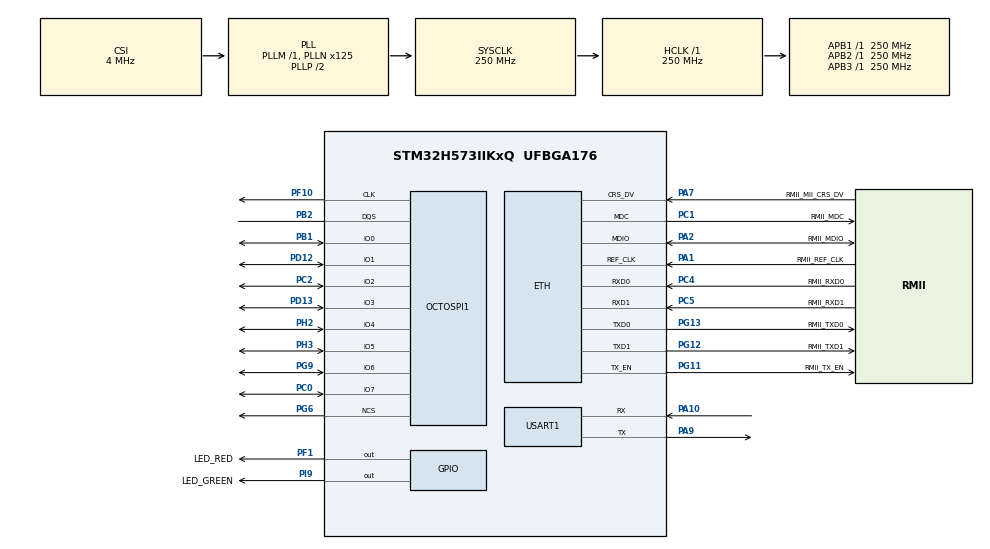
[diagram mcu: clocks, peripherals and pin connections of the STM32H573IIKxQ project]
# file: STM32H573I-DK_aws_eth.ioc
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CORTEX_M33_NS.AccessPermission-Cortex_Memory_Protection_Unit_Region0_Settings=MPU_REGION_PRIV_RO
CORTEX_M33_NS.BaseAddress-Cortex_Memory_Protection_Unit_Region0_Settings=0x08FFF800
CORTEX_M33_NS.DisableExec-Cortex_Memory_Protection_Unit_Region0_Settings=MPU_INSTRUCTION_ACCESS_DISABLE
CORTEX_M33_NS.Enable-Cortex_Memory_Protection_Unit_Region0_Settings=MPU_REGION_ENABLE
CORTEX_M33_NS.Enable-Cortex_Memory_Protection_Unit_Region1_Settings=__NULL
CORTEX_M33_NS.LimitAddress-Cortex_Memory_Protection_Unit_Region0_Settings=0x08FFF80C
CORTEX_M33_NS.MPU_Control=MPU_PRIVILEGED_DEFAULT
CORTEX_M33_NS.userName=CORTEX_M33
ETH.MACAddr=02\:00\:00\:00\:00\:00
ETH.MediaInterface=HAL_ETH_RMII_MODE
IWDG.Prescaler=IWDG_PRESCALER_1024
IWDG.Reload=320
IWDG.Window=0xfff
Mcu.Family=STM32H5
Mcu.Name=STM32H573IIKxQ
Mcu.Package=UFBGA176
NVIC.ETH_IRQn=true\:5\:0\:true\:false\:true\:true\:true\:true
NVIC.OCTOSPI1_IRQn=true\:5\:0\:true\:false\:true\:true\:true\:true
NVIC.PriorityGroup=NVIC_PRIORITYGROUP_4
NVIC.RNG_IRQn=true\:5\:0\:true\:false\:true\:true\:true\:true
NVIC.USART1_IRQn=true\:5\:0\:true\:false\:true\:true\:true\:true
OCTOSPI1.ChipSelectHighTimeCycle=2
OCTOSPI1.ClockPrescaler=4
OCTOSPI1.DelayBlockBypass=HAL_XSPI_DELAY_BLOCK_ON
OCTOSPI1.DelayHoldQuarterCycle=HAL_XSPI_DHQC_ENABLE
OCTOSPI1.FifoThresholdByte=4
OCTOSPI1.FreeRunningClock=HAL_XSPI_FREERUNCLK_ENABLE
OCTOSPI1.MemorySize=HAL_XSPI_SIZE_64MB
OCTOSPI1.MemoryType=HAL_XSPI_MEMTYPE_MACRONIX
OCTOSPI1.PhaseSel=2
OCTOSPI1.Units=56
PA1.GPIO_Label=RMII_REF_CLK
PA1.GPIO_Speed=GPIO_SPEED_FREQ_HIGH
PA1.Mode=RMII
PA1.Signal=ETH_REF_CLK
PA10.Mode=Asynchronous
PA10.Signal=USART1_RX
PA2.GPIO_Label=RMII_MDIO
PA2.GPIO_Speed=GPIO_SPEED_FREQ_HIGH
PA2.Mode=RMII
PA2.Signal=ETH_MDIO
PA7.GPIO_Label=RMII_MII_CRS_DV
PA7.GPIO_Speed=GPIO_SPEED_FREQ_HIGH
PA7.Mode=RMII
PA7.Signal=ETH_CRS_DV
PA9.Mode=Asynchronous
PA9.Signal=USART1_TX
PB1.Mode=octods_mode
PB1.Signal=OCTOSPI1_IO0
PB2.Mode=octods_mode
PB2.Signal=OCTOSPI1_DQS
PC0.Mode=octods_mode
PC0.Signal=OCTOSPI1_IO7
PC1.GPIO_Label=RMII_MDC
PC1.GPIO_Speed=GPIO_SPEED_FREQ_HIGH
PC1.Mode=RMII
PC1.Signal=ETH_MDC
PC2.Mode=octods_mode
PC2.Signal=OCTOSPI1_IO2
PC4.GPIO_Label=RMII_RXD0
PC4.GPIO_Speed=GPIO_SPEED_FREQ_HIGH
PC4.Mode=RMII
PC4.Signal=ETH_RXD0
PC5.GPIO_Label=RMII_RXD1
PC5.GPIO_Speed=GPIO_SPEED_FREQ_HIGH
PC5.Mode=RMII
PC5.Signal=ETH_RXD1
PD12.Mode=octods_mode
PD12.Signal=OCTOSPI1_IO1
PD13.Mode=octods_mode
PD13.Signal=OCTOSPI1_IO3
PF1.GPIO_Label=LED_RED
PF1.GPIO_Speed=GPIO_SPEED_FREQ_HIGH
PF1.Signal=GPIO_Output
PF10.Mode=octods_mode
PF10.Signal=OCTOSPI1_CLK
PG11.GPIO_Label=RMII_TX_EN
PG11.GPIO_Speed=GPIO_SPEED_FREQ_HIGH
PG11.Mode=RMII
PG11.Signal=ETH_TX_EN
PG12.GPIO_Label=RMII_TXD1
PG12.GPIO_Speed=GPIO_SPEED_FREQ_HIGH
PG12.Mode=RMII
PG12.Signal=ETH_TXD1
PG13.GPIO_Label=RMII_TXD0
PG13.GPIO_Speed=GPIO_SPEED_FREQ_HIGH
PG13.Mode=RMII
PG13.Signal=ETH_TXD0
PG6.GPIO_PuPd=GPIO_PULLUP
PG6.Mode=octods_mode
PG6.Signal=OCTOSPI1_NCS
PG9.Mode=octods_mode
PG9.Signal=OCTOSPI1_IO6
PH2.Mode=octods_mode
PH2.Signal=OCTOSPI1_IO4
PH3.Mode=octods_mode
PH3.Signal=OCTOSPI1_IO5
PI9.GPIO_Label=LED_GREEN
PI9.GPIO_Speed=GPIO_SPEED_FREQ_HIGH
PI9.Signal=GPIO_Output
ProjectManager.HeapSize=0x2000
ProjectManager.StackSize=0x2000
ProjectManager.TargetToolchain=STM32CubeIDE
RCC.ADCFreq_Value=250000000
RCC.AHBFreq_Value=250000000
RCC.APB1Freq_Value=250000000
RCC.APB1TimFreq_Value=250000000
RCC.APB2Freq_Value=250000000
RCC.APB2TimFreq_Value=250000000
RCC.APB3Freq_Value=250000000
RCC.CSI_VALUE=4000000
RCC.CortexFreq_Value=250000000
RCC.EPOD_VALUE=4000000
RCC.HCLKFreq_Value=250000000
RCC.HSE_VALUE=25000000
RCC.HSI48_VALUE=48000000
RCC.HSIDiv=RCC_HSI_DIV1
RCC.HSI_VALUE=64000000
RCC.LSE_VALUE=32768
RCC.LSIRC_VALUE=32000
RCC.OCTOSPIMCLockSelection=RCC_OSPICLKSOURCE_PLL2R
RCC.PLL2N=32
RCC.PLL2R=7
RCC.PLLN=125
RCC.SYSCLKFreq_VALUE=250000000
RCC.SYSCLKSource=RCC_SYSCLKSOURCE_PLLCLK
RCC.USBFreq_Value=48000000
RCC.VCOOutputFreq_Value=500000000
TIM5.PeriodNoDither=0xffffffff
TIM5.Prescaler=4096
USART1.FIFOMode=FIFOMODE_ENABLE
USART1.RXFIFOThreshold=RXFIFO_THRESHOLD_FULL
USART1.TXFIFOThreshold=TXFIFO_THRESHOLD_EMPTY
USART1.VirtualMode=VM_ASYNC
VP_DCACHE1_VS_DCACHE.Mode=DCACHE_Activate
VP_ICACHE_VS_ICACHE.Mode=DirectMappedCache
VP_IWDG_VS_IWDG.Mode=IWDG_Activate
VP_MEMORYMAP_VS_MEMORYMAP.Mode=CurAppReg
VP_PWR_VS_SECSignals.Mode=Security/Privilege
VP_RNG_VS_RNG.Mode=RNG_Activate
VP_TIM5_VS_ClockSourceINT.Mode=Internal
board=custom

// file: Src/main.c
/* USER CODE BEGIN Header */
/**
  ******************************************************************************
  * @file           : main.c
  * @brief          : Main program body
  ******************************************************************************
  * @attention
  *
  * Copyright (c) 2022 STMicroelectronics.
  * All rights reserved.
  *
  * This software is licensed under terms that can be found in the LICENSE file
  * in the root directory of this software component.
  * If no LICENSE file comes with this software, it is provided AS-IS.
  *
  ******************************************************************************
  */
/* USER CODE END Header */
#include "main.h"
#include "string.h"

/* USER CODE BEGIN Includes */
#include "FreeRTOS.h"
#include "task.h"
#include "stdlib.h"
#include "eth_lwip.h"
#include "lan8742/lan8742.h"

/* Computing the Eth MAC by a checksum of the device certificate. */
#include "PkiObject.h"

/* USER CODE END Includes */

ETH_TxPacketConfig TxConfig;
ETH_DMADescTypeDef  DMARxDscrTab[ETH_RX_DESC_CNT]; /* Ethernet Rx DMA Descriptors */
ETH_DMADescTypeDef  DMATxDscrTab[ETH_TX_DESC_CNT]; /* Ethernet Tx DMA Descriptors */

DCACHE_HandleTypeDef hdcache1;

ETH_HandleTypeDef heth;

IWDG_HandleTypeDef hiwdg;

XSPI_HandleTypeDef hospi1;

RNG_HandleTypeDef hrng;

TIM_HandleTypeDef htim5;

UART_HandleTypeDef huart1;

void SystemClock_Config(void);

static void MPU_Config(void);
/* USER CODE BEGIN PFP */
static BaseType_t prvComputeEthMac(uint8_t mac[6]);
static uint32_t Fletcher16(uint16_t *data, int words);
int32_t ETH_PHY_IO_Init(void);
int32_t ETH_PHY_IO_DeInit (void);
int32_t ETH_PHY_IO_ReadReg(uint32_t DevAddr, uint32_t RegAddr, uint32_t *pRegVal);
int32_t ETH_PHY_IO_WriteReg(uint32_t DevAddr, uint32_t RegAddr, uint32_t RegVal);
int32_t ETH_PHY_IO_GetTick(void);
/* USER CODE END PFP */

/* USER CODE BEGIN 0 */
lan8742_Object_t LAN8742;
lan8742_IOCtx_t  LAN8742_IOCtx = {ETH_PHY_IO_Init,
                                  ETH_PHY_IO_DeInit,
                                  ETH_PHY_IO_WriteReg,
                                  ETH_PHY_IO_ReadReg,
                                  ETH_PHY_IO_GetTick};
/* USER CODE END 0 */

void SystemClock_Config(void)
{
  RCC_OscInitTypeDef RCC_OscInitStruct = {0};
  RCC_ClkInitTypeDef RCC_ClkInitStruct = {0};

  /** Configure the main internal regulator output voltage
  */
  __HAL_PWR_VOLTAGESCALING_CONFIG(PWR_REGULATOR_VOLTAGE_SCALE0);

  while(!__HAL_PWR_GET_FLAG(PWR_FLAG_VOSRDY)) {}

  /** Initializes the RCC Oscillators according to the specified parameters
  * in the RCC_OscInitTypeDef structure.
  */
  RCC_OscInitStruct.OscillatorType = RCC_OSCILLATORTYPE_HSI48|RCC_OSCILLATORTYPE_LSI
                              |RCC_OSCILLATORTYPE_CSI;
  RCC_OscInitStruct.LSIState = RCC_LSI_ON;
  RCC_OscInitStruct.HSI48State = RCC_HSI48_ON;
  RCC_OscInitStruct.CSIState = RCC_CSI_ON;
  RCC_OscInitStruct.CSICalibrationValue = RCC_CSICALIBRATION_DEFAULT;
  RCC_OscInitStruct.PLL.PLLState = RCC_PLL_ON;
  RCC_OscInitStruct.PLL.PLLSource = RCC_PLL1_SOURCE_CSI;
  RCC_OscInitStruct.PLL.PLLM = 1;
  RCC_OscInitStruct.PLL.PLLN = 125;
  RCC_OscInitStruct.PLL.PLLP = 2;
  RCC_OscInitStruct.PLL.PLLQ = 2;
  RCC_OscInitStruct.PLL.PLLR = 2;
  RCC_OscInitStruct.PLL.PLLRGE = RCC_PLL1_VCIRANGE_2;
  RCC_OscInitStruct.PLL.PLLVCOSEL = RCC_PLL1_VCORANGE_WIDE;
  RCC_OscInitStruct.PLL.PLLFRACN = 0;
  if (HAL_RCC_OscConfig(&RCC_OscInitStruct) != HAL_OK)
  {
    Error_Handler();
  }

  /** Initializes the CPU, AHB and APB buses clocks
  */
  RCC_ClkInitStruct.ClockType = RCC_CLOCKTYPE_HCLK|RCC_CLOCKTYPE_SYSCLK
                              |RCC_CLOCKTYPE_PCLK1|RCC_CLOCKTYPE_PCLK2
                              |RCC_CLOCKTYPE_PCLK3;
  RCC_ClkInitStruct.SYSCLKSource = RCC_SYSCLKSOURCE_PLLCLK;
  RCC_ClkInitStruct.AHBCLKDivider = RCC_SYSCLK_DIV1;
  RCC_ClkInitStruct.APB1CLKDivider = RCC_HCLK_DIV1;
  RCC_ClkInitStruct.APB2CLKDivider = RCC_HCLK_DIV1;
  RCC_ClkInitStruct.APB3CLKDivider = RCC_HCLK_DIV1;

  if (HAL_RCC_ClockConfig(&RCC_ClkInitStruct, FLASH_LATENCY_5) != HAL_OK)
  {
    Error_Handler();
  }
}

void MX_DCACHE1_Init(void)
{

  hdcache1.Instance = DCACHE1;
  hdcache1.Init.ReadBurstType = DCACHE_READ_BURST_WRAP;
  if (HAL_DCACHE_Init(&hdcache1) != HAL_OK)
  {
    Error_Handler();
  }

}

void MX_ETH_Init(void)
{

   static uint8_t MACAddr[6];

  heth.Instance = ETH;
  MACAddr[0] = 0x02;
  MACAddr[1] = 0x00;
  MACAddr[2] = 0x00;
  MACAddr[3] = 0x00;
  MACAddr[4] = 0x00;
  MACAddr[5] = 0x00;
  heth.Init.MACAddr = &MACAddr[0];
  heth.Init.MediaInterface = HAL_ETH_RMII_MODE;
  heth.Init.TxDesc = DMATxDscrTab;
  heth.Init.RxDesc = DMARxDscrTab;
  heth.Init.RxBuffLen = 1524;

  /* USER CODE BEGIN MACADDRESS */
  /*NB: RxBuffLen = 1524; 1524 is ETH_RX_BUFFER_SIZE; 1536 used in CubeH5. Why not ETH_MAX_PAYLOAD? */

  /* MACAddr is initialized above to a locally administered range. */
  /* Custom computation. Shall be implemented by the users according to their product needs. */
  prvComputeEthMac( &MACAddr[0] );
  /* USER CODE END MACADDRESS */

  if (HAL_ETH_Init(&heth) != HAL_OK)
  {
    Error_Handler();
  }

  memset(&TxConfig, 0 , sizeof(ETH_TxPacketConfig));
  TxConfig.Attributes = ETH_TX_PACKETS_FEATURES_CSUM | ETH_TX_PACKETS_FEATURES_CRCPAD;
  TxConfig.ChecksumCtrl = ETH_CHECKSUM_IPHDR_PAYLOAD_INSERT_PHDR_CALC;
  TxConfig.CRCPadCtrl = ETH_CRC_PAD_INSERT;

}

void MX_ICACHE_Init(void)
{

  /** Enable instruction cache in 1-way (direct mapped cache)
  */
  if (HAL_ICACHE_ConfigAssociativityMode(ICACHE_1WAY) != HAL_OK)
  {
    Error_Handler();
  }
  if (HAL_ICACHE_Enable() != HAL_OK)
  {
    Error_Handler();
  }

}

void MX_IWDG_Init(void)
{

  hiwdg.Instance = IWDG;
  hiwdg.Init.Prescaler = IWDG_PRESCALER_1024;
  hiwdg.Init.Window = 0xfff;
  hiwdg.Init.Reload = 320;
  hiwdg.Init.EWI = 0;
  if (HAL_IWDG_Init(&hiwdg) != HAL_OK)
  {
    Error_Handler();
  }

}

void MX_OCTOSPI1_Init(void)
{

  HAL_XSPI_DLYB_CfgTypeDef HAL_OSPI_DLYB_Cfg_Struct = {0};

  /* OCTOSPI1 parameter configuration*/
  hospi1.Instance = OCTOSPI1;
  hospi1.Init.FifoThresholdByte = 4;
  hospi1.Init.MemoryMode = HAL_XSPI_SINGLE_MEM;
  hospi1.Init.MemoryType = HAL_XSPI_MEMTYPE_MACRONIX;
  hospi1.Init.MemorySize = HAL_XSPI_SIZE_64MB;
  hospi1.Init.ChipSelectHighTimeCycle = 2;
  hospi1.Init.FreeRunningClock = HAL_XSPI_FREERUNCLK_ENABLE;
  hospi1.Init.ClockMode = HAL_XSPI_CLOCK_MODE_0;
  hospi1.Init.WrapSize = HAL_XSPI_WRAP_NOT_SUPPORTED;
  hospi1.Init.ClockPrescaler = 4;
  hospi1.Init.SampleShifting = HAL_XSPI_SAMPLE_SHIFT_NONE;
  hospi1.Init.DelayHoldQuarterCycle = HAL_XSPI_DHQC_ENABLE;
  hospi1.Init.ChipSelectBoundary = HAL_XSPI_BONDARYOF_NONE;
  hospi1.Init.DelayBlockBypass = HAL_XSPI_DELAY_BLOCK_ON;
  hospi1.Init.Refresh = 0;
  if (HAL_XSPI_Init(&hospi1) != HAL_OK)
  {
    Error_Handler();
  }
  HAL_OSPI_DLYB_Cfg_Struct.Units = 56;
  HAL_OSPI_DLYB_Cfg_Struct.PhaseSel = 2;
  if (HAL_XSPI_DLYB_SetConfig(&hospi1, &HAL_OSPI_DLYB_Cfg_Struct) != HAL_OK)
  {
    Error_Handler();
  }

}

void MX_RNG_Init(void)
{

  /* USER CODE BEGIN RNG_Init 0 */
  uint32_t ulDummyValue = 0;
  /* USER CODE END RNG_Init 0 */

  hrng.Instance = RNG;
  hrng.Init.ClockErrorDetection = RNG_CED_ENABLE;
  if (HAL_RNG_Init(&hrng) != HAL_OK)
  {
    Error_Handler();
  }
  /* USER CODE BEGIN RNG_Init 2 */
  /* Ignore first random value returned */
  ( void ) HAL_RNG_GenerateRandomNumber( &hrng, &ulDummyValue );
  /* Seed the libc rand() source */
  ( void ) HAL_RNG_GenerateRandomNumber( &hrng, &ulDummyValue );
  srand(ulDummyValue);

  /* USER CODE END RNG_Init 2 */

}

void MX_TIM5_Init(void)
{

  TIM_ClockConfigTypeDef sClockSourceConfig = {0};
  TIM_MasterConfigTypeDef sMasterConfig = {0};

  htim5.Instance = TIM5;
  htim5.Init.Prescaler = 4096;
  htim5.Init.CounterMode = TIM_COUNTERMODE_UP;
  htim5.Init.Period = 4.294967295E9;
  htim5.Init.ClockDivision = TIM_CLOCKDIVISION_DIV1;
  htim5.Init.AutoReloadPreload = TIM_AUTORELOAD_PRELOAD_DISABLE;
  if (HAL_TIM_Base_Init(&htim5) != HAL_OK)
  {
    Error_Handler();
  }
  sClockSourceConfig.ClockSource = TIM_CLOCKSOURCE_INTERNAL;
  if (HAL_TIM_ConfigClockSource(&htim5, &sClockSourceConfig) != HAL_OK)
  {
    Error_Handler();
  }
  sMasterConfig.MasterOutputTrigger = TIM_TRGO_RESET;
  sMasterConfig.MasterSlaveMode = TIM_MASTERSLAVEMODE_DISABLE;
  if (HAL_TIMEx_MasterConfigSynchronization(&htim5, &sMasterConfig) != HAL_OK)
  {
    Error_Handler();
  }
  /* USER CODE BEGIN TIM5_Init 2 */
  if (HAL_TIM_Base_Start( &htim5 )!= HAL_OK)
  {
    Error_Handler();
  }
  /* USER CODE END TIM5_Init 2 */

}

void MX_USART1_UART_Init(void)
{

  huart1.Instance = USART1;
  huart1.Init.BaudRate = 115200;
  huart1.Init.WordLength = UART_WORDLENGTH_8B;
  huart1.Init.StopBits = UART_STOPBITS_1;
  huart1.Init.Parity = UART_PARITY_NONE;
  huart1.Init.Mode = UART_MODE_TX_RX;
  huart1.Init.HwFlowCtl = UART_HWCONTROL_NONE;
  huart1.Init.OverSampling = UART_OVERSAMPLING_16;
  huart1.Init.OneBitSampling = UART_ONE_BIT_SAMPLE_DISABLE;
  huart1.Init.ClockPrescaler = UART_PRESCALER_DIV1;
  huart1.AdvancedInit.AdvFeatureInit = UART_ADVFEATURE_NO_INIT;
  if (HAL_UART_Init(&huart1) != HAL_OK)
  {
    Error_Handler();
  }
  if (HAL_UARTEx_SetTxFifoThreshold(&huart1, UART_TXFIFO_THRESHOLD_8_8) != HAL_OK)
  {
    Error_Handler();
  }
  if (HAL_UARTEx_SetRxFifoThreshold(&huart1, UART_RXFIFO_THRESHOLD_8_8) != HAL_OK)
  {
    Error_Handler();
  }
  if (HAL_UARTEx_EnableFifoMode(&huart1) != HAL_OK)
  {
    Error_Handler();
  }

}

void MX_GPIO_Init(void)
{
  GPIO_InitTypeDef GPIO_InitStruct = {0};

  /* GPIO Ports Clock Enable */
  __HAL_RCC_GPIOG_CLK_ENABLE();
  __HAL_RCC_GPIOI_CLK_ENABLE();
  __HAL_RCC_GPIOA_CLK_ENABLE();
  __HAL_RCC_GPIOF_CLK_ENABLE();
  __HAL_RCC_GPIOC_CLK_ENABLE();
  __HAL_RCC_GPIOD_CLK_ENABLE();
  __HAL_RCC_GPIOB_CLK_ENABLE();
  __HAL_RCC_GPIOH_CLK_ENABLE();

  /*Configure GPIO pin Output Level */
  HAL_GPIO_WritePin(LED_GREEN_GPIO_Port, LED_GREEN_Pin, GPIO_PIN_RESET);

  /*Configure GPIO pin Output Level */
  HAL_GPIO_WritePin(LED_RED_GPIO_Port, LED_RED_Pin, GPIO_PIN_RESET);

  /*Configure GPIO pin : LED_GREEN_Pin */
  GPIO_InitStruct.Pin = LED_GREEN_Pin;
  GPIO_InitStruct.Mode = GPIO_MODE_OUTPUT_PP;
  GPIO_InitStruct.Pull = GPIO_NOPULL;
  GPIO_InitStruct.Speed = GPIO_SPEED_FREQ_HIGH;
  HAL_GPIO_Init(LED_GREEN_GPIO_Port, &GPIO_InitStruct);

  /*Configure GPIO pin : LED_RED_Pin */
  GPIO_InitStruct.Pin = LED_RED_Pin;
  GPIO_InitStruct.Mode = GPIO_MODE_OUTPUT_PP;
  GPIO_InitStruct.Pull = GPIO_NOPULL;
  GPIO_InitStruct.Speed = GPIO_SPEED_FREQ_HIGH;
  HAL_GPIO_Init(LED_RED_GPIO_Port, &GPIO_InitStruct);

}

/* USER CODE BEGIN 4 */
void hw_init( void )
{
  MPU_Config();

  /* Reset of all peripherals, Initializes the Flash interface and the Systick. */
  HAL_Init();

  /* Configure the system clock */
  SystemClock_Config();
  /* Initialize all configured peripherals */
  MX_GPIO_Init();
  MX_ICACHE_Init();
  MX_RNG_Init();
  MX_DCACHE1_Init();
  MX_OCTOSPI1_Init();
  MX_TIM5_Init();
  MX_USART1_UART_Init();
  MX_ETH_Init();
  //MX_IWDG_Init();

  /* Initialize uart for logging before cli is up and running */
  vInitLoggingEarly();
}

void HAL_Delay( uint32_t ulDelayMs )
{
    if( xTaskGetSchedulerState() != taskSCHEDULER_NOT_STARTED )
    {
        vTaskDelay( pdMS_TO_TICKS( ulDelayMs ) );
    }
    else
    {
        uint32_t ulStartTick = HAL_GetTick();
        uint32_t ulTicksWaited = ulDelayMs;

        /* Add a freq to guarantee minimum wait */
        if( ulTicksWaited < HAL_MAX_DELAY )
        {
            ulTicksWaited += ( uint32_t ) ( HAL_GetTickFreq() );
        }

        while( ( HAL_GetTick() - ulStartTick ) < ulTicksWaited )
        {
            __NOP();
        }
    }
}

static BaseType_t prvComputeEthMac( uint8_t mac[6] )
{
  BaseType_t status = pdFALSE;
  uint8_t cpuID[3 * sizeof(uint32_t)] = { 0 };

  *( (uint32_t*) &cpuID[0] ) = HAL_GetUIDw0();
  *( (uint32_t*) &cpuID[4] ) = HAL_GetUIDw1();
  *( (uint32_t*) &cpuID[8] ) = HAL_GetUIDw2();

  uint32_t sum = Fletcher16( (uint16_t *)cpuID, sizeof(cpuID) / sizeof(uint16_t) );
  mac[0] = 0x02;              /* Prefix denoting a locally administered range. */
  mac[1] = 0x00;
  memcpy(&mac[2], &sum, 4);   /* Append the 32b checksum. */
  status = pdTRUE;

  return status;
}

static uint32_t Fletcher16( uint16_t *data, int words )
{
  /* Non-optimized implementation with 16b accumulator */
  uint32_t sum1 = 0;
  uint32_t sum2 = 0;
  int index;
  for ( index = 0; index < words; ++index )
  {
    sum1 = (sum1 + data[index]) % 0xffff;
	  sum2 = (sum2 + sum1) % 0xffff;
  }
  return (sum2 << 16) | sum1;
}

void low_level_init(NetInterface_t *netif)
{
  uint32_t PHYLinkState = LAN8742_STATUS_LINK_DOWN;
  uint32_t speed = 0, duplex =0;
  ETH_MACConfigTypeDef MACConf = { 0 };

  /* set MAC hardware address length */
  netif->hwaddr_len = ETH_HWADDR_LEN;

  /* set MAC hardware address */
  netif->hwaddr[0] =  heth.Init.MACAddr[0];
  netif->hwaddr[1] =  heth.Init.MACAddr[1];
  netif->hwaddr[2] =  heth.Init.MACAddr[2];
  netif->hwaddr[3] =  heth.Init.MACAddr[3];
  netif->hwaddr[4] =  heth.Init.MACAddr[4];
  netif->hwaddr[5] =  heth.Init.MACAddr[5];

  /* maximum transfer unit */
  netif->mtu = ETH_MAX_PAYLOAD;

  /* Accept broadcast address and ARP traffic */
  /* don't set NETIF_FLAG_ETHARP if this device is not an ethernet one */
  #if LWIP_ARP
    netif->flags |= NETIF_FLAG_BROADCAST | NETIF_FLAG_ETHARP;
  #else
    netif->flags |= NETIF_FLAG_BROADCAST;
  #endif /* LWIP_ARP */

  /* Set PHY IO functions */
  LAN8742_RegisterBusIO(&LAN8742, &LAN8742_IOCtx);

  /* Initialize the LAN8742 ETH PHY */
  LAN8742_Init(&LAN8742);

  PHYLinkState = LAN8742_GetLinkState(&LAN8742);

  /* Get link state */
  if(PHYLinkState <= LAN8742_STATUS_LINK_DOWN)
  {
    netif_set_link_down(netif);
    netif_set_down(netif);
  }
  else
  {
    switch (PHYLinkState)
    {
      case LAN8742_STATUS_100MBITS_FULLDUPLEX:
        duplex = ETH_FULLDUPLEX_MODE;
        speed = ETH_SPEED_100M;
        break;
      case LAN8742_STATUS_100MBITS_HALFDUPLEX:
        duplex = ETH_HALFDUPLEX_MODE;
        speed = ETH_SPEED_100M;
        break;
      case LAN8742_STATUS_10MBITS_FULLDUPLEX:
        duplex = ETH_FULLDUPLEX_MODE;
        speed = ETH_SPEED_10M;
        break;
      case LAN8742_STATUS_10MBITS_HALFDUPLEX:
        duplex = ETH_HALFDUPLEX_MODE;
        speed = ETH_SPEED_10M;
        break;
      default:
        duplex = ETH_FULLDUPLEX_MODE;
        speed = ETH_SPEED_100M;
        break;
    }

    /* Get MAC Config MAC */
    HAL_ETH_GetMACConfig(&heth, &MACConf);
    MACConf.DuplexMode = duplex;
    MACConf.Speed = speed;
    HAL_ETH_SetMACConfig(&heth, &MACConf);
  }
}

/*******************************************************************************
                       PHI IO Functions
*******************************************************************************/
/**
  * @brief  Initializes the MDIO interface GPIO and clocks.
  * @param  None
  * @retval 0 if OK, -1 if ERROR
  */
int32_t ETH_PHY_IO_Init(void)
{
  /* We assume that MDIO GPIO configuration is already done
     in the ETH_MspInit() else it should be done here
  */

  /* Configure the MDIO Clock */
  HAL_ETH_SetMDIOClockRange(&heth);

  return 0;
}

/**
  * @brief  De-Initializes the MDIO interface .
  * @param  None
  * @retval 0 if OK, -1 if ERROR
  */
int32_t ETH_PHY_IO_DeInit (void)
{
  return 0;
}

/**
  * @brief  Read a PHY register through the MDIO interface.
  * @param  DevAddr: PHY port address
  * @param  RegAddr: PHY register address
  * @param  pRegVal: pointer to hold the register value
  * @retval 0 if OK -1 if Error
  */
int32_t ETH_PHY_IO_ReadReg(uint32_t DevAddr, uint32_t RegAddr, uint32_t *pRegVal)
{
  if(HAL_ETH_ReadPHYRegister(&heth, DevAddr, RegAddr, pRegVal) != HAL_OK)
  {
    return -1;
  }

  return 0;
}

/**
  * @brief  Write a value to a PHY register through the MDIO interface.
  * @param  DevAddr: PHY port address
  * @param  RegAddr: PHY register address
  * @param  RegVal: Value to be written
  * @retval 0 if OK -1 if Error
  */
int32_t ETH_PHY_IO_WriteReg(uint32_t DevAddr, uint32_t RegAddr, uint32_t RegVal)
{
  if(HAL_ETH_WritePHYRegister(&heth, DevAddr, RegAddr, RegVal) != HAL_OK)
  {
    return -1;
  }

  return 0;
}

/**
  * @brief  Get the time in millisecons used for internal PHY driver process.
  * @retval Time value
  */
int32_t ETH_PHY_IO_GetTick(void)
{
  return HAL_GetTick();
}

/* USER CODE END 4 */

/* MPU Configuration */

void MPU_Config(void)
{
  MPU_Region_InitTypeDef MPU_InitStruct = {0};
  MPU_Attributes_InitTypeDef MPU_AttributesInit = {0};

  /* Disables the MPU */
  HAL_MPU_Disable();

  /** Initializes and configures the Region and the memory to be protected
  */
  MPU_InitStruct.Enable = MPU_REGION_ENABLE;
  MPU_InitStruct.Number = MPU_REGION_NUMBER0;
  MPU_InitStruct.BaseAddress = UID_BASE;
  MPU_InitStruct.LimitAddress = UID_BASE + 3 * sizeof(uint32_t);
  MPU_InitStruct.AttributesIndex = MPU_ATTRIBUTES_NUMBER0;
  MPU_InitStruct.AccessPermission = MPU_REGION_PRIV_RO;
  MPU_InitStruct.DisableExec = MPU_INSTRUCTION_ACCESS_DISABLE;
  MPU_InitStruct.IsShareable = MPU_ACCESS_NOT_SHAREABLE;

  HAL_MPU_ConfigRegion(&MPU_InitStruct);
  MPU_AttributesInit.Number = MPU_REGION_NUMBER0;
  MPU_AttributesInit.Attributes = MPU_DEVICE_nGnRnE | MPU_WRITE_THROUGH
                              | MPU_TRANSIENT | MPU_NO_ALLOCATE;

  HAL_MPU_ConfigMemoryAttributes(&MPU_AttributesInit);
  /* Enables the MPU */
  HAL_MPU_Enable(MPU_PRIVILEGED_DEFAULT);

}

void Error_Handler(void)
{
  __disable_irq();
  while (1)
  {
  }
}
